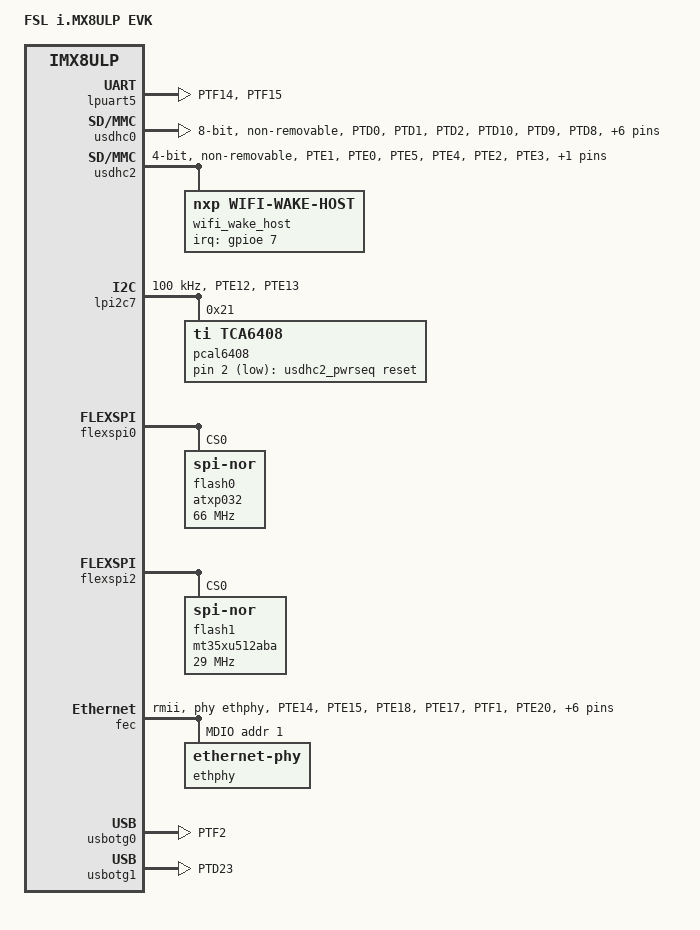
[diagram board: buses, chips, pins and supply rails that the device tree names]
// SPDX-License-Identifier: (GPL-2.0 OR MIT)
/*
 * Copyright 2021 NXP
 */

/dts-v1/;

#include "imx8ulp.dtsi"

/ {
	model = "FSL i.MX8ULP EVK";
	compatible = "fsl,imx8ulp-evk", "fsl,imx8ulp";

	chosen {
		stdout-path = &lpuart5;
		bootargs = "console=ttyLP1,115200 earlycon";
	};

	usdhc2_pwrseq: usdhc2_pwrseq {
		compatible = "mmc-pwrseq-simple";
		reset-gpios = <&pcal6408 2 GPIO_ACTIVE_LOW>;
	};
};

&lpuart5 {
	/* console */
	pinctrl-names = "default", "sleep";
	pinctrl-0 = <&pinctrl_lpuart5>;
	pinctrl-1 = <&pinctrl_lpuart5>;
	status = "okay";
};

&iomuxc1 {
	pinctrl_lpuart5: lpuart5grp {
		fsl,pins = <
			MX8ULP_PAD_PTF14__LPUART5_TX	0x03
			MX8ULP_PAD_PTF15__LPUART5_RX	0x03
		>;
	};

	pinctrl_lpi2c7: lpi2c7grp {
		fsl,pins = <
			MX8ULP_PAD_PTE12__LPI2C7_SCL	0x27
			MX8ULP_PAD_PTE13__LPI2C7_SDA	0x27
		>;
	};

	pinctrl_usdhc0: usdhc0grp {
		fsl,pins = <
			MX8ULP_PAD_PTD0__SDHC0_RESET_B  0x43
			MX8ULP_PAD_PTD1__SDHC0_CMD	0x43
			MX8ULP_PAD_PTD2__SDHC0_CLK	0x10042
			MX8ULP_PAD_PTD10__SDHC0_D0	0x43
			MX8ULP_PAD_PTD9__SDHC0_D1	0x43
			MX8ULP_PAD_PTD8__SDHC0_D2	0x43
			MX8ULP_PAD_PTD7__SDHC0_D3	0x43
			MX8ULP_PAD_PTD6__SDHC0_D4	0x43
			MX8ULP_PAD_PTD5__SDHC0_D5	0x43
			MX8ULP_PAD_PTD4__SDHC0_D6	0x43
			MX8ULP_PAD_PTD3__SDHC0_D7	0x43
			MX8ULP_PAD_PTD11__SDHC0_DQS	0x10042
		>;
	};

	pinctrl_usdhc2_pte: usdhc2ptegrp {
		fsl,pins = <
			MX8ULP_PAD_PTE1__SDHC2_D0	0x43
			MX8ULP_PAD_PTE0__SDHC2_D1	0x43
			MX8ULP_PAD_PTE5__SDHC2_D2	0x43
			MX8ULP_PAD_PTE4__SDHC2_D3	0x43
			MX8ULP_PAD_PTE2__SDHC2_CLK	0x10042
			MX8ULP_PAD_PTE3__SDHC2_CMD	0x43
			MX8ULP_PAD_PTE7__PTE7		0x10003
		>;
	};

	pinctrl_fec: fecgrp {
		fsl,pins = <
			MX8ULP_PAD_PTE14__ENET0_MDIO		0x43
			MX8ULP_PAD_PTE15__ENET0_MDC	0x43
			MX8ULP_PAD_PTE18__ENET0_CRS_DV	0x43
			MX8ULP_PAD_PTE17__ENET0_RXER	0x43
			MX8ULP_PAD_PTF1__ENET0_RXD0	0x43
			MX8ULP_PAD_PTE20__ENET0_RXD1	0x43
			MX8ULP_PAD_PTE16__ENET0_TXEN	0x43
			MX8ULP_PAD_PTE23__ENET0_TXD0	0x43
			MX8ULP_PAD_PTE22__ENET0_TXD1	0x43
			MX8ULP_PAD_PTE19__ENET0_REFCLK	0x10043
			MX8ULP_PAD_PTF10__ENET0_1588_CLKIN 0x10043
		>;
	};

	pinctrl_usbotg0_id: otg0idgrp {
		fsl,pins = <
			MX8ULP_PAD_PTF2__USB0_ID	0x10003
		>;
	};

	pinctrl_usbotg1_id: otg1idgrp {
		fsl,pins = <
			MX8ULP_PAD_PTD23__USB1_ID	0x10003
		>;
	};
};

&usdhc0 {
	pinctrl-names = "default", "state_100mhz", "state_200mhz";
	pinctrl-0 = <&pinctrl_usdhc0>;
	pinctrl-1 = <&pinctrl_usdhc0>;
	pinctrl-2 = <&pinctrl_usdhc0>;
	bus-width = <8>;
	non-removable;
	status = "okay";
};

&usdhc2 {
	pinctrl-names = "default", "state_100mhz", "state_200mhz", "sleep";
	pinctrl-0 = <&pinctrl_usdhc2_pte>;
	pinctrl-1 = <&pinctrl_usdhc2_pte>;
	pinctrl-2 = <&pinctrl_usdhc2_pte>;
	pinctrl-3 = <&pinctrl_usdhc2_pte>;
	mmc-pwrseq = <&usdhc2_pwrseq>;
	max-frequency = <100000000>;
	bus-width = <4>;
	keep-power-in-suspend;
	non-removable;
	wakeup-source;
	status = "okay";

	wifi_wake_host {
		compatible = "nxp,wifi-wake-host";
		interrupt-parent = <&gpioe>;
		interrupts = <7 IRQ_TYPE_LEVEL_LOW>;
		interrupt-names = "host-wake";
	};
};

&lpi2c7 {
	#address-cells = <1>;
	#size-cells = <0>;
	clock-frequency = <100000>;
	pinctrl-names = "default";
	pinctrl-0 = <&pinctrl_lpi2c7>;
	status = "okay";

	pcal6408: gpio@21 {
		compatible = "ti,tca6408";
		reg = <0x21>;
		gpio-controller;
		#gpio-cells = <2>;
	};
};

&flexspi0 {
	status = "okay";

	flash0: atxp032@0 {
		reg = <0>;
		#address-cells = <1>;
		#size-cells = <1>;
		compatible = "jedec,spi-nor";
		spi-max-frequency = <66000000>;
	};
};

&flexspi2 {
	status = "okay";

	flash1: mt35xu512aba@0 {
		reg = <0>;
		#address-cells = <1>;
		#size-cells = <1>;
		compatible = "jedec,spi-nor";
		spi-max-frequency = <29000000>;
		spi-nor,ddr-quad-read-dummy = <8>;
	};
};

&fec {
	pinctrl-names = "default";
	pinctrl-0 = <&pinctrl_fec>;
	phy-mode = "rmii";
	phy-handle = <&ethphy>;
	status = "okay";

	phy-reset-gpios = <&pcal6408 4 GPIO_ACTIVE_LOW>;

	mdio {
		#address-cells = <1>;
		#size-cells = <0>;

		ethphy: ethernet-phy@1 {
			reg = <1>;
			micrel,led-mode = <1>;
		};
	};
};

&usbotg0 {
	pinctrl-names = "default";
	pinctrl-0 = <&pinctrl_usbotg0_id>;
	srp-disable;
	hnp-disable;
	adp-disable;
	status = "okay";
};

&usbphy0 {
	fsl,tx-d-cal = <88>;
};

&usbotg1 {
	pinctrl-names = "default";
	pinctrl-0 = <&pinctrl_usbotg1_id>;
	srp-disable;
	hnp-disable;
	adp-disable;
	status = "okay";
};

&usbphy1 {
	fsl,tx-d-cal = <88>;
};
